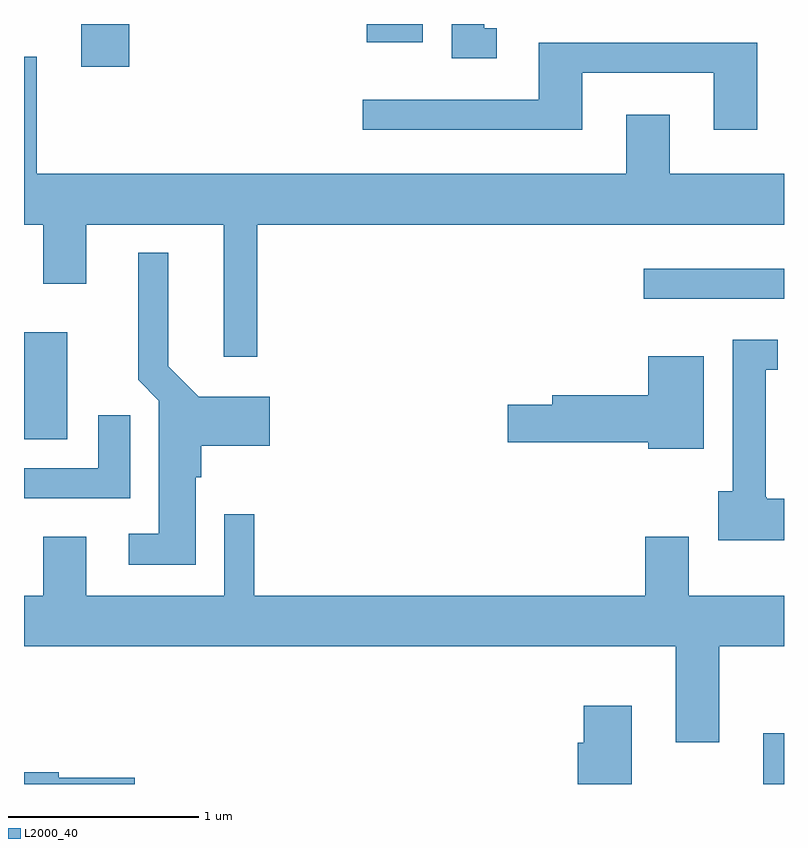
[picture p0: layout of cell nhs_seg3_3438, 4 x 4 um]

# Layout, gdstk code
import gdstk
lib = gdstk.Library(unit=1e-6, precision=1e-09)
def R(c, l, rs):  # rectangles x0, y0, x1, y1
    for r in rs: c.add(gdstk.rectangle(r[:2], r[2:], *l))
def P(c, l, *ps):  # polygons
    for p in ps: c.add(gdstk.Polygon(p, *l))
L2000_40 = (2000, 40)

nhs_seg3_3438 = lib.new_cell('nhs_seg3_3438')
R(nhs_seg3_3438, L2000_40, [(289.501,1191.892,289.611,1192.159), (285.611,1193.706,285.839,1194.269), (288.873,1194.446,289.611,1194.604), (285.911,1195.666,286.164,1195.892), (287.416,1195.796,287.709,1195.892)])
P(nhs_seg3_3438, L2000_40, [(288.098,1195.869),(288.034,1195.869),(288.034,1195.892),(287.861,1195.892),(287.861,1195.711),(288.098,1195.711)],
  [(288.549,1195.636),(289.241,1195.636),(289.241,1195.336),(289.469,1195.336),(289.469,1195.794),(288.321,1195.794),(288.321,1195.494),(287.393,1195.494),(287.393,1195.336),(288.549,1195.336)],
  [(286.839,1194.836),(289.611,1194.836),(289.611,1195.104),(289.009,1195.104),(289.009,1195.414),(288.781,1195.414),(288.781,1195.104),(285.679,1195.104),(285.679,1195.719),(285.611,1195.719),(285.611,1194.836),(285.711,1194.836),(285.711,1194.526),(285.939,1194.526),(285.939,1194.836),(286.661,1194.836),(286.661,1194.141),(286.839,1194.141)],
  [(286.514,1193.506),(286.544,1193.506),(286.544,1193.671),(286.904,1193.671),(286.904,1193.929),(286.532,1193.929),(286.369,1194.092),(286.369,1194.688),(286.211,1194.688),(286.211,1194.019),(286.321,1193.909),(286.321,1193.209),(286.163,1193.209),(286.163,1193.046),(286.514,1193.046)],
  [(289.611,1193.394),(289.52,1193.394),(289.52,1193.4),(289.514,1193.4),(289.514,1194.071),(289.578,1194.071),(289.578,1194.229),(289.341,1194.229),(289.341,1193.434),(289.266,1193.434),(289.266,1193.176),(289.611,1193.176)],
  [(289.189,1194.144),(288.896,1194.144),(288.896,1193.939),(288.391,1193.939),(288.391,1193.889),(288.156,1193.889),(288.156,1193.691),(288.896,1193.691),(288.896,1193.656),(289.189,1193.656)],
  [(286.169,1193.833),(286.001,1193.833),(286.001,1193.554),(285.611,1193.554),(285.611,1193.396),(286.169,1193.396)],
  [(289.269,1192.616),(289.611,1192.616),(289.611,1192.884),(289.109,1192.884),(289.109,1193.194),(288.881,1193.194),(288.881,1192.884),(286.824,1192.884),(286.824,1193.313),(286.666,1193.313),(286.666,1192.884),(285.939,1192.884),(285.939,1193.194),(285.711,1193.194),(285.711,1192.884),(285.611,1192.884),(285.611,1192.616),(289.041,1192.616),(289.041,1192.111),(289.269,1192.111)],
  [(288.809,1192.304),(288.556,1192.304),(288.556,1192.109),(288.526,1192.109),(288.526,1191.892),(288.809,1191.892)],
  [(286.194,1191.924),(285.794,1191.924),(285.794,1191.954),(285.611,1191.954),(285.611,1191.892),(286.194,1191.892)])

lib.write_gds('nhs_seg3_3438.gds')
